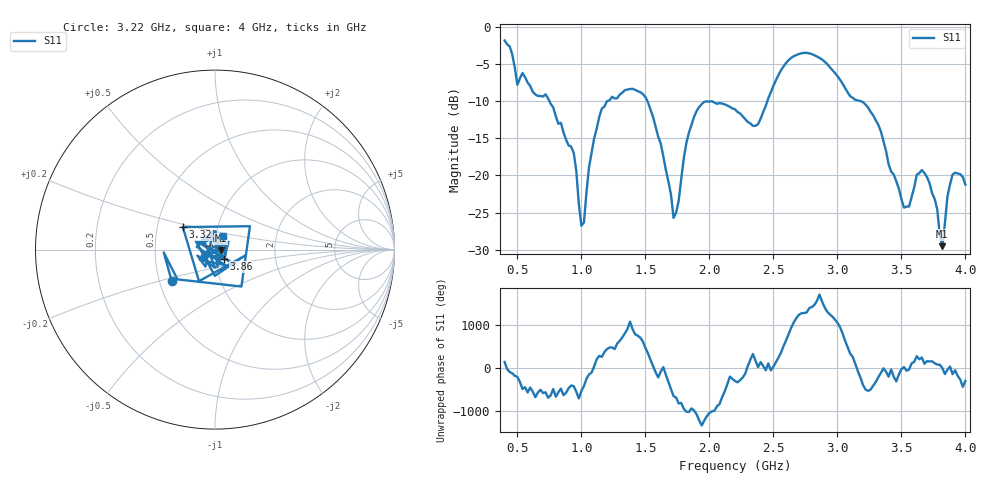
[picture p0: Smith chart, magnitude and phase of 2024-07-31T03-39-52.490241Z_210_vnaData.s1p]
!Created with skrf (http://scikit-rf.org).
# Hz S RI R 50.0
!freq ReS11 ImS11
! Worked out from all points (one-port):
!   181 points, 400 MHz to 4 GHz, reference 50 ohm
!   lowest |S11| = -29.5 dB at 3.82 GHz (marker M1), VSWR 1.07, Z = 53.5 - j0.328 ohm
!   |S11| at or under -10 dB: 749.4 MHz to 1.204 GHz (454.9 MHz wide, 46.6 % of centre); 1.515 GHz to 2.453 GHz (937.9 MHz wide, 47.3 % of centre); 3.177 GHz to end of sweep
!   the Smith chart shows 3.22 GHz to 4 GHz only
!   S11 on the Smith chart (normalised r, x): 3.22 GHz: 0.58, -0.23; 3.32 GHz: 0.68, +0.18; 3.86 GHz: 1.10, -0.11; 4 GHz: 1.09, +0.16
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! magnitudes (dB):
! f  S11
! 400 MHz  -1.9
! 500 MHz  -7.8
! 720 MHz  -9.1
! 860 MHz  -14.2
! 940 MHz  -17.0
! 1 GHz  -26.7
! 1.14 GHz  -12.1
! 1.3 GHz  -9.1
! 1.5 GHz  -9.5
! 1.62 GHz  -15.7
! 1.72 GHz  -25.7
! 1.76 GHz  -23.4
! 1.82 GHz  -15.6
! 1.9 GHz  -11.3
! 2.2 GHz  -11.1
! 2.38 GHz  -13.1
! 2.66 GHz  -4.0
! 2.88 GHz  -4.4
! 3.1 GHz  -9.4
! 3.22 GHz  -10.5
! 3.32 GHz  -13.2
! 3.56 GHz  -24.2
! 3.68 GHz  -19.7
! 3.78 GHz  -24.5
! 3.82 GHz  -29.5
! 3.86 GHz  -22.8
! 3.92 GHz  -19.6
! 4 GHz  -21.2
